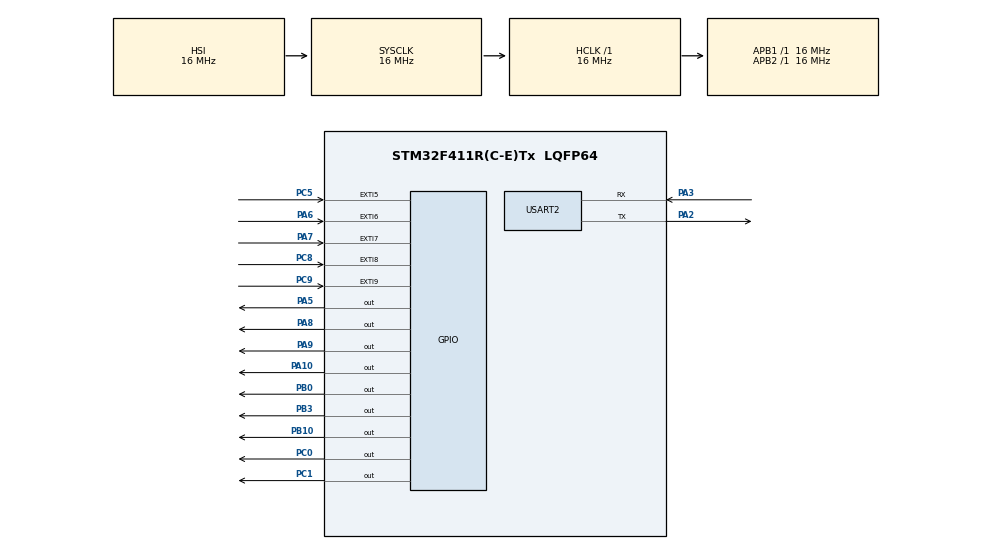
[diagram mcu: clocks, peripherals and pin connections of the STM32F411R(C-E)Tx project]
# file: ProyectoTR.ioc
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FREERTOS.Events01=semEvent,Dynamic,NULL
FREERTOS.Mutexes01=uartMutex,Dynamic,NULL
FREERTOS.Queues01=keys,4,char,0,Dynamic,NULL,NULL;semaforo,4,char,0,Dynamic,NULL,NULL
FREERTOS.Tasks01=sendUART,24,128,StartSendUART,Default,NULL,Dynamic,NULL,NULL;semNormalTask,24,128,StartSemNormalTask,Default,NULL,Dynamic,NULL,NULL;semGestionTask,24,128,StartSemGestionTask,Default,NULL,Dynamic,NULL,NULL;sirenaTask,24,128,StartSirenaTask,Default,NULL,Dynamic,NULL,NULL;keyboardTask,24,128,StartKeyboardTask,Default,NULL,Dynamic,NULL,NULL
Mcu.Family=STM32F4
Mcu.Name=STM32F411R(C-E)Tx
Mcu.Package=LQFP64
NVIC.EXTI9_5_IRQn=true\:7\:0\:true\:false\:true\:true\:true\:true\:true
NVIC.PriorityGroup=NVIC_PRIORITYGROUP_4
NVIC.USART2_IRQn=true\:5\:0\:false\:false\:true\:true\:true\:true\:true
PA10.Signal=GPIO_Output
PA2.Mode=Asynchronous
PA2.Signal=USART2_TX
PA3.Mode=Asynchronous
PA3.Signal=USART2_RX
PA5.Signal=GPIO_Output
PA6.GPIO_PuPd=GPIO_PULLDOWN
PA6.Signal=GPXTI6
PA7.GPIO_PuPd=GPIO_PULLDOWN
PA7.Signal=GPXTI7
PA8.Signal=GPIO_Output
PA9.Signal=GPIO_Output
PB0.Signal=GPIO_Output
PB10.Signal=GPIO_Output
PB3.Signal=GPIO_Output
PC0.Signal=GPIO_Output
PC1.Signal=GPIO_Output
PC5.Signal=GPXTI5
PC8.GPIO_PuPd=GPIO_PULLDOWN
PC8.Signal=GPXTI8
PC9.Signal=GPXTI9
ProjectManager.HeapSize=0x200
ProjectManager.StackSize=0x400
ProjectManager.TargetToolchain=STM32CubeIDE
RCC.AHBFreq_Value=16000000
RCC.APB1Freq_Value=16000000
RCC.APB2Freq_Value=16000000
RCC.CortexFreq_Value=16000000
RCC.HSE_VALUE=25000000
RCC.HSI_VALUE=16000000
RCC.LSE_VALUE=32768
RCC.SYSCLKFreq_VALUE=16000000
RCC.VCOOutputFreq_Value=192000000
USART2.VirtualMode=VM_ASYNC
VP_FREERTOS_VS_CMSIS_V2.Mode=CMSIS_V2
board=custom

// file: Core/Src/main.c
/* USER CODE BEGIN Header */
/**
 ******************************************************************************
 * @file           : main.c
 * @brief          : Main program body
 ******************************************************************************
 * @attention
 *
 * Copyright (c) 2023 STMicroelectronics.
 * All rights reserved.
 *
 * This software is licensed under terms that can be found in the LICENSE file
 * in the root directory of this software component.
 * If no LICENSE file comes with this software, it is provided AS-IS.
 *
 ******************************************************************************
 */
/* USER CODE END Header */
#include "main.h"
#include "cmsis_os.h"

/* USER CODE BEGIN Includes */
#include "semaforo.h"
#include "keyboard.h"

/* USER CODE END Includes */

/* USER CODE BEGIN PD */

uint8_t rx_buffer;
uint8_t is_sirena;

/* USER CODE END PD */

UART_HandleTypeDef huart2;

/* Definitions for sendUART */
osThreadId_t sendUARTHandle;
const osThreadAttr_t sendUART_attributes = {
  .name = "sendUART",
  .stack_size = 128 * 4,
  .priority = (osPriority_t) osPriorityNormal,
};
/* Definitions for semNormalTask */
osThreadId_t semNormalTaskHandle;
const osThreadAttr_t semNormalTask_attributes = {
  .name = "semNormalTask",
  .stack_size = 128 * 4,
  .priority = (osPriority_t) osPriorityNormal,
};
/* Definitions for semGestionTask */
osThreadId_t semGestionTaskHandle;
const osThreadAttr_t semGestionTask_attributes = {
  .name = "semGestionTask",
  .stack_size = 128 * 4,
  .priority = (osPriority_t) osPriorityNormal,
};
/* Definitions for sirenaTask */
osThreadId_t sirenaTaskHandle;
const osThreadAttr_t sirenaTask_attributes = {
  .name = "sirenaTask",
  .stack_size = 128 * 4,
  .priority = (osPriority_t) osPriorityNormal,
};
/* Definitions for keyboardTask */
osThreadId_t keyboardTaskHandle;
const osThreadAttr_t keyboardTask_attributes = {
  .name = "keyboardTask",
  .stack_size = 128 * 4,
  .priority = (osPriority_t) osPriorityNormal,
};
/* Definitions for keys */
osMessageQueueId_t keysHandle;
const osMessageQueueAttr_t keys_attributes = {
  .name = "keys"
};
/* Definitions for semaforo */
osMessageQueueId_t semaforoHandle;
const osMessageQueueAttr_t semaforo_attributes = {
  .name = "semaforo"
};
/* Definitions for uartMutex */
osMutexId_t uartMutexHandle;
const osMutexAttr_t uartMutex_attributes = {
  .name = "uartMutex"
};
/* Definitions for semEvent */
osEventFlagsId_t semEventHandle;
const osEventFlagsAttr_t semEvent_attributes = {
  .name = "semEvent"
};

void SystemClock_Config(void);
static void MX_GPIO_Init(void);
static void MX_USART2_UART_Init(void);
void StartSendUART(void *argument);
void StartSemNormalTask(void *argument);
void StartSemGestionTask(void *argument);
void StartSirenaTask(void *argument);
void StartKeyboardTask(void *argument);

/* USER CODE BEGIN 0 */

/* Envio mensaje UART ---------------------------------------------------------*/
//El dato enviado es un caracter. Funcion utilizada por todas las tareas por lo
//que el uso de recurso comun esta protegido por mutex

void sendUARTMensaje(uint8_t msg) {
	osMutexAcquire(uartMutexHandle, osWaitForever);
	HAL_UART_Transmit(&huart2, &msg, sizeof(msg), 50);
	osMutexRelease(uartMutexHandle);
}

/* Recepcion mensaje UART ---------------------------------------------------------*/
//Interrupcion UART. El caracter recibido puede estar relacinado
//con la gestion del keyboard o semaforo. Los caracteres recibidos
//se almacenan en las colas keysHandle y semaforoHandle

void HAL_UART_RxCpltCallback(UART_HandleTypeDef *huart) {
	osMessageQueuePut(semaforoHandle, &rx_buffer, 0, 0);
	osMessageQueuePut(keysHandle, &rx_buffer, 0, 0);
	HAL_UART_Receive_IT(&huart2, &rx_buffer, sizeof(rx_buffer));
}

/* Interrupicon EXIT ---------------------------------------------------------*/
//Interrupcion por teclado o PIR :
//		* Interrupcion del teclado por linea. La obtencion del key
//		se realiza en el mismo teclado el valor se almacena en la cola keysHandle
//      * Interrupcion PIR: el valor de combio de estado se almacena la cola semaforoHandle
//
void HAL_GPIO_EXTI_Callback(uint16_t GPIO_Pin) {

	uint8_t row = 0;
	char msg = PIR_AMB;

	switch (GPIO_Pin) {

	case PIN_KEY_ROW_0:
		if (delayKey())
			return;
		row = 0;
		handleKeyBoard(row);
		break;
	case PIN_KEY_ROW_1:
		if (delayKey())
			return;
		row = 1;
		handleKeyBoard(row);
		break;
	case PIN_KEY_ROW_2:
		if (delayKey())
			return;
		row = 2;
		handleKeyBoard(row);
		break;
	case PIN_KEY_ROW_3:
		if (delayKey())
			return;
		row = 3;
		handleKeyBoard(row);
		break;

	case PIN_PIR:
		osMessageQueuePut(semaforoHandle, &msg, 0, 0);
		break;
	}
}

/* Gestion recursos desde semaforo.c y keyboard.c ---------------------------------------------------------*/
//Escritura caracter cola  keysHandle
void msgKey(char msg) {
	osMessageQueuePut(keysHandle, &msg, 0, 0);
}

//Activar Sirena
void activarFagSemaforo() {
	osEventFlagsSet(semEventHandle, FLAG_EVENTO_SIRENA);
}

//Desactivar Sirena
void desactivarFagSemaforo() {
	is_sirena = 0;
	osEventFlagsClear(semEventHandle, FLAG_EVENTO_SIRENA);
}

//Suspender tarea semNormalTask
void suspenderTarea() {
	osThreadSuspend(semNormalTaskHandle); // Boqueo tarea semNormalTask
}

//Activar tarea semNormalTask
void activarTarea() {
	osThreadResume(semNormalTaskHandle); // Reanudar tarea semNormalTask
}

/**
 * Crea los objetos del sistema operativo.
 */
void createOsObjects() {
	uartMutexHandle = osMutexNew(&uartMutex_attributes);

	keysHandle = osMessageQueueNew(4, sizeof(char), &keys_attributes);
	semaforoHandle = osMessageQueueNew(4, sizeof(char), &semaforo_attributes);

	semEventHandle = osEventFlagsNew(&semEvent_attributes);
}

/**
 * Crea las diferentes tareas
 */
void createOsThreads() {

	semNormalTaskHandle = osThreadNew(StartSemNormalTask, NULL,
			&semNormalTask_attributes);

	semGestionTaskHandle = osThreadNew(StartSemGestionTask, NULL,
			&semGestionTask_attributes);

	sirenaTaskHandle = osThreadNew(StartSirenaTask, NULL,
			&sirenaTask_attributes);

	keyboardTaskHandle = osThreadNew(StartKeyboardTask, NULL,
			&keyboardTask_attributes);
}
/* USER CODE END 0 */

int main(void)
{

  /* MCU Configuration--------------------------------------------------------*/

  /* Reset of all peripherals, Initializes the Flash interface and the Systick. */
  HAL_Init();

  /* Configure the system clock */
  SystemClock_Config();

  /* Initialize all configured peripherals */
  MX_GPIO_Init();
  MX_USART2_UART_Init();
  /* USER CODE BEGIN 2 */

	// Pone a 1 los pines de columnas del teclado
	for (int i = 0; i < 4; i++)
		writeColum(i, GPIO_PIN_SET);

	// Prepara el UART para recibir un caracter
	HAL_UART_Receive_IT(&huart2, (uint8_t*) &rx_buffer, sizeof(rx_buffer));

	// Inicializa recursos
	createOsObjects();
	createOsThreads();
  /* USER CODE END 2 */

  /* Init scheduler */
  osKernelInitialize();
/* USER CODE BEGIN Header */
/**
 ******************************************************************************
 * @file           : main.c
 * @brief          : Main program body
 ******************************************************************************
 * @attention
 *
 * Copyright (c) 2023 STMicroelectronics.
 * All rights reserved.
 *
 * This software is licensed under terms that can be found in the LICENSE file
 * in the root directory of this software component.
 * If no LICENSE file comes with this software, it is provided AS-IS.
 *
 ******************************************************************************
 */
/* USER CODE END Header */

  /* Start scheduler */
  osKernelStart();

  /* We should never get here as control is now taken by the scheduler */
  /* Infinite loop */
	while (1) {

	}
}

void SystemClock_Config(void)
{
  RCC_OscInitTypeDef RCC_OscInitStruct = {0};
  RCC_ClkInitTypeDef RCC_ClkInitStruct = {0};

  /** Configure the main internal regulator output voltage
  */
  __HAL_RCC_PWR_CLK_ENABLE();
  __HAL_PWR_VOLTAGESCALING_CONFIG(PWR_REGULATOR_VOLTAGE_SCALE1);

  /** Initializes the RCC Oscillators according to the specified parameters
  * in the RCC_OscInitTypeDef structure.
  */
  RCC_OscInitStruct.OscillatorType = RCC_OSCILLATORTYPE_HSI;
  RCC_OscInitStruct.HSIState = RCC_HSI_ON;
  RCC_OscInitStruct.HSICalibrationValue = RCC_HSICALIBRATION_DEFAULT;
  RCC_OscInitStruct.PLL.PLLState = RCC_PLL_NONE;
  if (HAL_RCC_OscConfig(&RCC_OscInitStruct) != HAL_OK)
  {
    Error_Handler();
  }

  /** Initializes the CPU, AHB and APB buses clocks
  */
  RCC_ClkInitStruct.ClockType = RCC_CLOCKTYPE_HCLK|RCC_CLOCKTYPE_SYSCLK
                              |RCC_CLOCKTYPE_PCLK1|RCC_CLOCKTYPE_PCLK2;
  RCC_ClkInitStruct.SYSCLKSource = RCC_SYSCLKSOURCE_HSI;
  RCC_ClkInitStruct.AHBCLKDivider = RCC_SYSCLK_DIV1;
  RCC_ClkInitStruct.APB1CLKDivider = RCC_HCLK_DIV1;
  RCC_ClkInitStruct.APB2CLKDivider = RCC_HCLK_DIV1;

  if (HAL_RCC_ClockConfig(&RCC_ClkInitStruct, FLASH_LATENCY_0) != HAL_OK)
  {
    Error_Handler();
  }
}

static void MX_USART2_UART_Init(void)
{

  huart2.Instance = USART2;
  huart2.Init.BaudRate = 115200;
  huart2.Init.WordLength = UART_WORDLENGTH_8B;
  huart2.Init.StopBits = UART_STOPBITS_1;
  huart2.Init.Parity = UART_PARITY_NONE;
  huart2.Init.Mode = UART_MODE_TX_RX;
  huart2.Init.HwFlowCtl = UART_HWCONTROL_NONE;
  huart2.Init.OverSampling = UART_OVERSAMPLING_16;
  if (HAL_UART_Init(&huart2) != HAL_OK)
  {
    Error_Handler();
  }

}

static void MX_GPIO_Init(void) {
	GPIO_InitTypeDef GPIO_InitStruct = { 0 };

	/* GPIO Ports Clock Enable */
	__HAL_RCC_GPIOC_CLK_ENABLE();
	__HAL_RCC_GPIOA_CLK_ENABLE();
	__HAL_RCC_GPIOB_CLK_ENABLE();

	/*Configure GPIO pin Output Level */
	HAL_GPIO_WritePin(GPIOC, GPIO_PIN_0 | GPIO_PIN_1, GPIO_PIN_RESET);

	/*Configure GPIO pin Output Level */
	HAL_GPIO_WritePin(GPIOA, GPIO_PIN_5 | GPIO_PIN_8 | GPIO_PIN_9 | GPIO_PIN_10,
			GPIO_PIN_RESET);

	/*Configure GPIO pin Output Level */
	HAL_GPIO_WritePin(GPIOB, GPIO_PIN_0 | GPIO_PIN_10 | GPIO_PIN_3,
			GPIO_PIN_RESET);

	/*Configure GPIO pins : PC0 PC1 */
	GPIO_InitStruct.Pin = GPIO_PIN_0 | GPIO_PIN_1;
	GPIO_InitStruct.Mode = GPIO_MODE_OUTPUT_PP;
	GPIO_InitStruct.Pull = GPIO_NOPULL;
	GPIO_InitStruct.Speed = GPIO_SPEED_FREQ_LOW;
	HAL_GPIO_Init(GPIOC, &GPIO_InitStruct);

	/*Configure GPIO pins : PA5 PA8 PA9 PA10 */
	GPIO_InitStruct.Pin = GPIO_PIN_5 | GPIO_PIN_8 | GPIO_PIN_9 | GPIO_PIN_10;
	GPIO_InitStruct.Mode = GPIO_MODE_OUTPUT_PP;
	GPIO_InitStruct.Pull = GPIO_NOPULL;
	GPIO_InitStruct.Speed = GPIO_SPEED_FREQ_LOW;
	HAL_GPIO_Init(GPIOA, &GPIO_InitStruct);

	/*Configure GPIO pins : PA6 PA7 */
	GPIO_InitStruct.Pin = GPIO_PIN_6 | GPIO_PIN_7;
	GPIO_InitStruct.Mode = GPIO_MODE_IT_RISING;
	GPIO_InitStruct.Pull = GPIO_PULLDOWN;
	HAL_GPIO_Init(GPIOA, &GPIO_InitStruct);

	/*Configure GPIO pins : PC5 */
	GPIO_InitStruct.Pin = GPIO_PIN_5;
	GPIO_InitStruct.Mode = GPIO_MODE_IT_RISING;
	GPIO_InitStruct.Pull = GPIO_NOPULL;
	HAL_GPIO_Init(GPIOC, &GPIO_InitStruct);

	/*Configure GPIO pins : PB0 PB10 PB3 */
	GPIO_InitStruct.Pin = GPIO_PIN_0 | GPIO_PIN_10 | GPIO_PIN_3;
	GPIO_InitStruct.Mode = GPIO_MODE_OUTPUT_PP;
	GPIO_InitStruct.Pull = GPIO_NOPULL;
	GPIO_InitStruct.Speed = GPIO_SPEED_FREQ_LOW;
	HAL_GPIO_Init(GPIOB, &GPIO_InitStruct);

	/*Configure GPIO pin : PC8 PC9 */
	GPIO_InitStruct.Pin = GPIO_PIN_8 | GPIO_PIN_9;
	GPIO_InitStruct.Mode = GPIO_MODE_IT_RISING;
	GPIO_InitStruct.Pull = GPIO_PULLDOWN;
	HAL_GPIO_Init(GPIOC, &GPIO_InitStruct);

	/* EXTI interrupt init*/
	HAL_NVIC_SetPriority(EXTI9_5_IRQn, 7, 0);
	HAL_NVIC_EnableIRQ(EXTI9_5_IRQn);

}

void StartSendUART(void *argument) {
	/*char rxKey = 0;
	 for (;;) {
	 // IMPORTANTE Solo para uso de test
	 // BORRAR
	 osMessageQueueGet(keysHandle, &rxKey, NULL, osWaitForever);
	 //HAL_UART_Transmit(&huart2, &rxKey, sizeof(char), 50);
	 }*/
}

/* USER CODE BEGIN Header_StartSemNormalTask */
/**
 * Ejecucion funcion normal del semaforo.
 * Tarea que se suspende y se activa.
 *
/* USER CODE END Header_StartSemNormalTask */
void StartSemNormalTask(void *argument) {
	for (;;) {
		runSemaforoNormal();
	}
}

/* USER CODE BEGIN Header_StartSemGestionTask */
/**
 * Gestion estado del semaforo.
*/
/* USER CODE END Header_StartSemGestionTask */
void StartSemGestionTask(void *argument) {
	char rxChar;
	for (;;) {
		osMessageQueueGet(semaforoHandle, &rxChar, NULL, osWaitForever);
		stateSemaforo(rxChar);
	}
}

/* USER CODE BEGIN Header_StartSirenaTask */
/**
 * Gestion estado de la sirena. Posee funciones que
 * se activa o se desactivan desde la tarea semGestionTask con
 * el flag del evento semEventHandle.
 *
 */
/* USER CODE END Header_StartSirenaTask */
void StartSirenaTask(void *argument) {
	desactivarFagSemaforo();
	for (;;) {
		osEventFlagsWait(semEventHandle, FLAG_EVENTO_SIRENA, osFlagsWaitAny, osWaitForever);
		is_sirena = 1;
		sendUARTMensaje(SIRENA_START);
		while (is_sirena) {
			runSirena();
		}
		sendUARTMensaje(SIRENA_OFF);
		stopSirena();

	}
}

/* USER CODE BEGIN Header_StartKeyboardTask */
/**
 * Gestion estado del teclado.
 */
/* USER CODE END Header_StartKeyboardTask */
void StartKeyboardTask(void *argument) {
	char rxChar;

	for (;;) {
		osMessageQueueGet(keysHandle, &rxChar, NULL, osWaitForever);
		stateKeyBoard(rxChar);

	}
}

void Error_Handler(void)
{
	__disable_irq();
	while (1) {
	}
}
